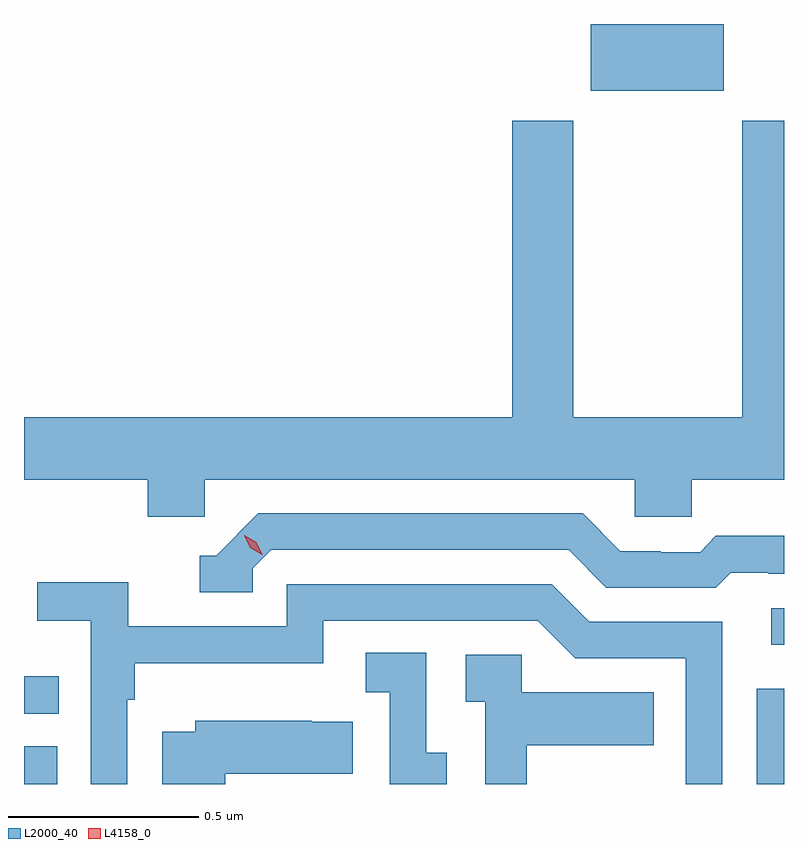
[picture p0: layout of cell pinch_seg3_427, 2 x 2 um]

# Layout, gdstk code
import gdstk
lib = gdstk.Library(unit=1e-6, precision=1e-09)
def R(c, l, rs):  # rectangles x0, y0, x1, y1
    for r in rs: c.add(gdstk.rectangle(r[:2], r[2:], *l))
def P(c, l, *ps):  # polygons
    for p in ps: c.add(gdstk.Polygon(p, *l))
L2000_40 = (2000, 40)
L4158_0 = (4158, 0)

pinch_seg3_427 = lib.new_cell('pinch_seg3_427')
R(pinch_seg3_427, L2000_40, [(905.128,694.787,905.215,694.887), (907.056,694.787,907.128,695.038), (905.128,694.972,905.219,695.071), (907.095,695.154,907.128,695.25), (906.62,696.611,906.97,696.787)])
P(pinch_seg3_427, L2000_40, [(905.604,695.588),(906.735,695.588),(906.735,695.49),(906.885,695.49),(906.885,695.588),(907.128,695.588),(907.128,696.532),(907.018,696.532),(907.018,695.752),(906.573,695.752),(906.573,696.532),(906.413,696.532),(906.413,695.752),(905.128,695.752),(905.128,695.588),(905.453,695.588),(905.453,695.49),(905.604,695.49)],
  [(905.73,695.355),(905.778,695.403),(906.561,695.403),(906.66,695.304),(906.949,695.304),(906.988,695.343),(907.087,695.343),(907.087,695.34),(907.128,695.34),(907.128,695.44),(906.949,695.44),(906.907,695.397),(906.804,695.397),(906.804,695.4),(906.697,695.4),(906.598,695.499),(905.745,695.499),(905.634,695.388),(905.591,695.388),(905.591,695.292),(905.73,695.292)],
  [(905.4,695.009),(905.42,695.009),(905.42,695.105),(905.916,695.105),(905.916,695.217),(906.48,695.217),(906.579,695.118),(906.87,695.118),(906.87,694.787),(906.966,694.787),(906.966,695.214),(906.616,695.214),(906.517,695.313),(905.82,695.313),(905.82,695.202),(905.402,695.202),(905.402,695.318),(905.163,695.318),(905.163,695.216),(905.304,695.216),(905.304,694.787),(905.4,694.787)],
  [(906.241,694.869),(906.186,694.869),(906.186,695.132),(906.027,695.132),(906.027,695.029),(906.09,695.029),(906.09,694.787),(906.241,694.787)],
  [(906.451,694.889),(906.785,694.889),(906.785,695.029),(906.438,695.029),(906.438,695.127),(906.291,695.127),(906.291,695.003),(906.342,695.003),(906.342,694.787),(906.451,694.787)],
  [(905.658,694.814),(905.993,694.814),(905.993,694.951),(905.885,694.951),(905.885,694.954),(905.579,694.954),(905.579,694.924),(905.492,694.924),(905.492,694.787),(905.658,694.787)])
P(pinch_seg3_427, L4158_0, [(905.755,695.39),(905.724,695.409),(905.708,695.442),(905.708,695.442),(905.708,695.442),(905.739,695.423),(905.755,695.39),(905.755,695.39)])

lib.write_gds('pinch_seg3_427.gds')
